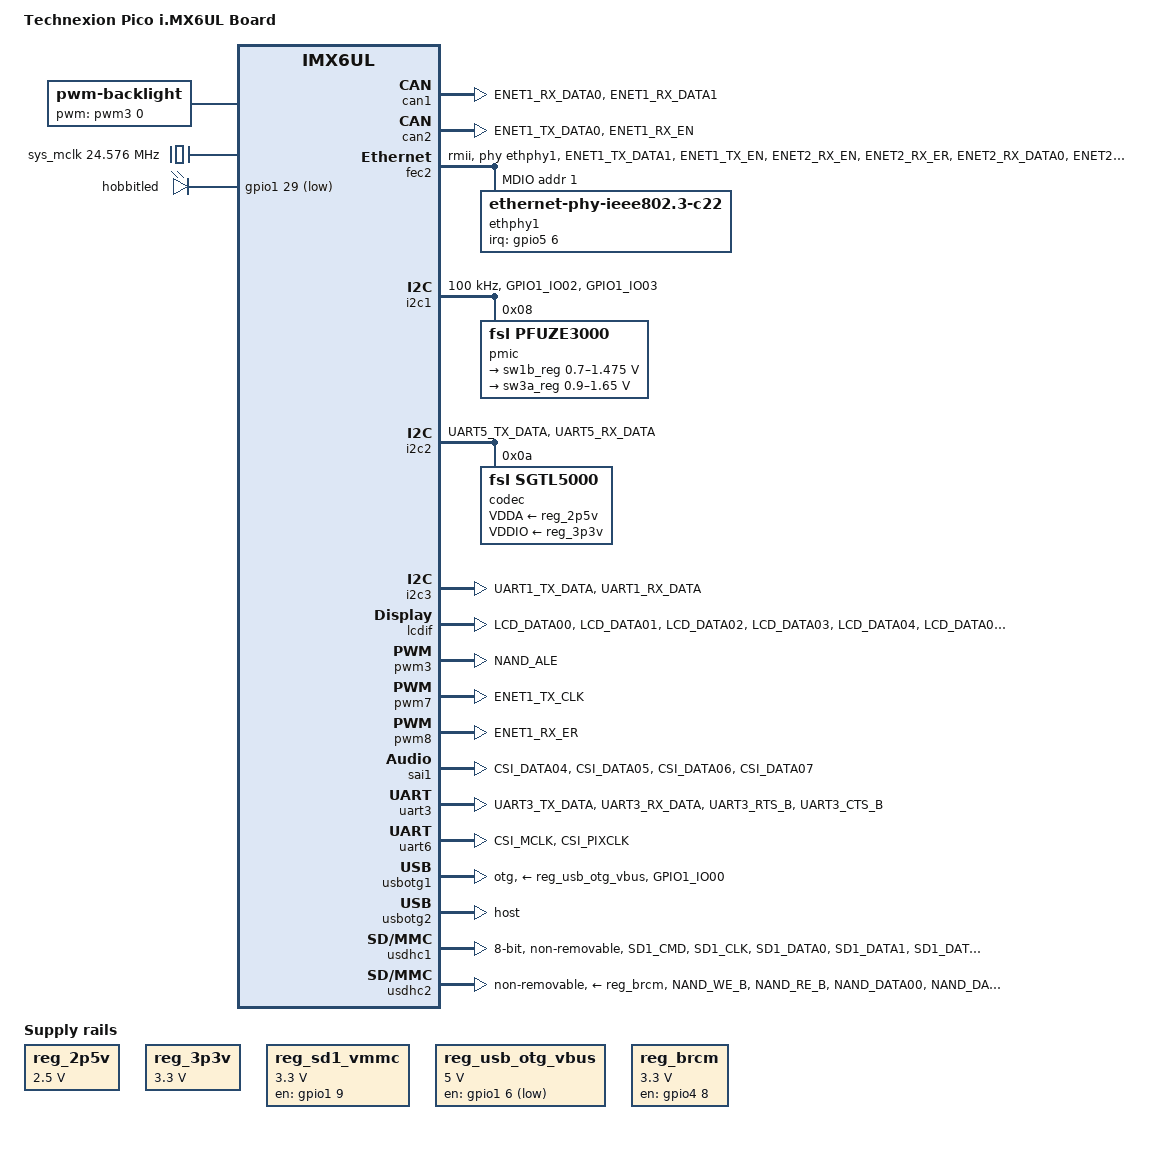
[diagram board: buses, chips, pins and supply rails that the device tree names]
/*
 * Copyright 2015 Technexion Ltd.
 *
 * Author: Wig Cheng  <wig.cheng@technexion.com>
 *	   Richard Hu <richard.hu@technexion.com>
 *	   Tapani Utriainen <tapani@technexion.com>
 *
 * This file is dual-licensed: you can use it either under the terms
 * of the GPL or the X11 license, at your option. Note that this dual
 * licensing only applies to this file, and not this project as a
 * whole.
 *
 *  a) This file is free software; you can redistribute it and/or
 *     modify it under the terms of the GNU General Public License
 *     version 2 as published by the Free Software Foundation.
 *
 *     This file is distributed in the hope that it will be useful,
 *     but WITHOUT ANY WARRANTY; without even the implied warranty of
 *     MERCHANTABILITY or FITNESS FOR A PARTICULAR PURPOSE.  See the
 *     GNU General Public License for more details.
 *
 * Or, alternatively,
 *
 *  b) Permission is hereby granted, free of charge, to any person
 *     obtaining a copy of this software and associated documentation
 *     files (the "Software"), to deal in the Software without
 *     restriction, including without limitation the rights to use,
 *     copy, modify, merge, publish, distribute, sublicense, and/or
 *     sell copies of the Software, and to permit persons to whom the
 *     Software is furnished to do so, subject to the following
 *     conditions:
 *
 *     The above copyright notice and this permission notice shall be
 *     included in all copies or substantial portions of the Software.
 *
 *     THE SOFTWARE IS PROVIDED "AS IS", WITHOUT WARRANTY OF ANY KIND,
 *     EXPRESS OR IMPLIED, INCLUDING BUT NOT LIMITED TO THE WARRANTIES
 *     OF MERCHANTABILITY, FITNESS FOR A PARTICULAR PURPOSE AND
 *     NONINFRINGEMENT. IN NO EVENT SHALL THE AUTHORS OR COPYRIGHT
 *     HOLDERS BE LIABLE FOR ANY CLAIM, DAMAGES OR OTHER LIABILITY,
 *     WHETHER IN AN ACTION OF CONTRACT, TORT OR OTHERWISE, ARISING
 *     FROM, OUT OF OR IN CONNECTION WITH THE SOFTWARE OR THE USE OR
 *     OTHER DEALINGS IN THE SOFTWARE.
 */

/dts-v1/;

#include "imx6ul.dtsi"

/ {
	model = "Technexion Pico i.MX6UL Board";
	compatible = "technexion,imx6ul-pico-hobbit", "fsl,imx6ul";

	/* Will be filled by the bootloader */
	memory@80000000 {
		reg = <0x80000000 0>;
	};

	chosen {
		stdout-path = &uart6;
	};

	backlight {
		compatible = "pwm-backlight";
		pwms = <&pwm3 0 5000000>;
		brightness-levels = <0 4 8 16 32 64 128 255>;
		default-brightness-level = <6>;
		status = "okay";
	};

	reg_2p5v: regulator-2p5v {
		compatible = "regulator-fixed";
		regulator-name = "2P5V";
		regulator-min-microvolt = <2500000>;
		regulator-max-microvolt = <2500000>;
	};

	reg_3p3v: regulator-3p3v {
		compatible = "regulator-fixed";
		regulator-name = "3P3V";
		regulator-min-microvolt = <3300000>;
		regulator-max-microvolt = <3300000>;
	};

	reg_sd1_vmmc: regulator-sd1-vmmc {
		compatible = "regulator-fixed";
		regulator-name = "VSD_3V3";
		regulator-min-microvolt = <3300000>;
		regulator-max-microvolt = <3300000>;
		gpio = <&gpio1 9 GPIO_ACTIVE_HIGH>;
		enable-active-high;
	};

	reg_usb_otg_vbus: regulator-usb-otg-vbus {
		compatible = "regulator-fixed";
		pinctrl-names = "default";
		pinctrl-0 = <&pinctrl_usb_otg1>;
		regulator-name = "usb_otg_vbus";
		regulator-min-microvolt = <5000000>;
		regulator-max-microvolt = <5000000>;
		gpio = <&gpio1 6 0>;
	};

	reg_brcm: regulator-brcm {
		compatible = "regulator-fixed";
		enable-active-high;
		gpio = <&gpio4 8 GPIO_ACTIVE_HIGH>;
		pinctrl-names = "default";
		pinctrl-0 = <&pinctrl_brcm_reg>;
		regulator-name = "brcm_reg";
		regulator-min-microvolt = <3300000>;
		regulator-max-microvolt = <3300000>;
		startup-delay-us = <200000>;
	};

	sound {
		compatible = "fsl,imx-audio-sgtl5000";
		model = "imx6ul-sgtl5000";
		audio-cpu = <&sai1>;
		audio-codec = <&codec>;
		audio-routing =
			"LINE_IN", "Line In Jack",
			"MIC_IN", "Mic Jack",
			"Mic Jack", "Mic Bias",
			"Headphone Jack", "HP_OUT";
	};

	sys_mclk: clock-sys-mclk {
		compatible = "fixed-clock";
		#clock-cells = <0>;
		clock-frequency = <24576000>;
	};

	leds {
		compatible = "gpio-leds";

		hobbitled {
			label = "hobbitled";
			gpios = <&gpio1 29 GPIO_ACTIVE_LOW>;
		};
	};
};

&can1 {
	pinctrl-names = "default";
	pinctrl-0 = <&pinctrl_flexcan1>;
	status = "okay";
};

&can2 {
	pinctrl-names = "default";
	pinctrl-0 = <&pinctrl_flexcan2>;
	status = "okay";
};

&clks {
	assigned-clocks = <&clks IMX6UL_CLK_PLL4_AUDIO_DIV>;
	assigned-clock-rates = <786432000>;
};

&fec2 {
	pinctrl-names = "default";
	pinctrl-0 = <&pinctrl_enet2>;
	phy-mode = "rmii";
	phy-handle = <&ethphy1>;
	status = "okay";
	phy-reset-gpios = <&gpio1 28 GPIO_ACTIVE_LOW>;
	phy-reset-duration = <1>;

	mdio {
		#address-cells = <1>;
		#size-cells = <0>;

		ethphy1: ethernet-phy@1 {
			compatible = "ethernet-phy-ieee802.3-c22";
			reg = <1>;
			max-speed = <100>;
			interrupt-parent = <&gpio5>;
			interrupts = <6 IRQ_TYPE_LEVEL_LOW>;
		};
	};
};

&i2c1 {
	clock-frequency = <100000>;
	pinctrl-names = "default";
	pinctrl-0 = <&pinctrl_i2c1>;
	status = "okay";

	pmic: pfuze3000@8 {
		compatible = "fsl,pfuze3000";
		reg = <0x08>;

		regulators {
			/* VDD_ARM_SOC_IN*/
			sw1b_reg: sw1b {
				regulator-min-microvolt = <700000>;
				regulator-max-microvolt = <1475000>;
				regulator-boot-on;
				regulator-always-on;
				regulator-ramp-delay = <6250>;
			};

			/* DRAM */
			sw3a_reg: sw3 {
				regulator-min-microvolt = <900000>;
				regulator-max-microvolt = <1650000>;
				regulator-boot-on;
				regulator-always-on;
			};

			/* DRAM */
			vref_reg: vrefddr {
				regulator-boot-on;
				regulator-always-on;
			};
		};
	};
};

&i2c2 {
	clock_frequency = <100000>;
	pinctrl-names = "default";
	pinctrl-0 = <&pinctrl_i2c2>;
	status = "okay";

	codec: sgtl5000@a {
		reg = <0x0a>;
		compatible = "fsl,sgtl5000";
		clocks = <&sys_mclk>;
		VDDA-supply = <&reg_2p5v>;
		VDDIO-supply = <&reg_3p3v>;
	};
};

&i2c3 {
	clock_frequency = <100000>;
	pinctrl-names = "default";
	pinctrl-0 = <&pinctrl_i2c3>;
	status = "okay";
};

&lcdif {
	pinctrl-names = "default";
	pinctrl-0 = <&pinctrl_lcdif_dat &pinctrl_lcdif_ctrl>;
	display = <&display0>;
	status = "okay";

	display0: display0 {
		bits-per-pixel = <32>;
		bus-width = <24>;

		display-timings {
			native-mode = <&timing0>;

			timing0: timing0 {
				clock-frequency = <33200000>;
				hactive = <800>;
				vactive = <480>;
				hfront-porch = <210>;
				hback-porch = <46>;
				hsync-len = <1>;
				vback-porch = <22>;
				vfront-porch = <23>;
				vsync-len = <1>;
				hsync-active = <0>;
				vsync-active = <0>;
				de-active = <1>;
				pixelclk-active = <0>;
			};
		};
	};
};

&pwm3 {
	pinctrl-names = "default";
	pinctrl-0 = <&pinctrl_pwm3>;
	status = "okay";
};

&pwm7 {
	pinctrl-names = "default";
	pinctrl-0 = <&pinctrl_pwm7>;
	status = "okay";
};

&pwm8 {
	pinctrl-names = "default";
	pinctrl-0 = <&pinctrl_pwm8>;
	status = "okay";
};

&sai1 {
	pinctrl-names = "default";
	pinctrl-0 = <&pinctrl_sai1>;
	status = "okay";
};

&uart3 {
	pinctrl-names = "default";
	pinctrl-0 = <&pinctrl_uart3>;
	uart-has-rtscts;
	status = "okay";
};

&uart6 {
	pinctrl-names = "default";
	pinctrl-0 = <&pinctrl_uart6>;
	status = "okay";
};

&usbotg1 {
	vbus-supply = <&reg_usb_otg_vbus>;
	pinctrl-names = "default";
	pinctrl-0 = <&pinctrl_usb_otg1_id>;
	dr_mode = "otg";
	disable-over-current;
	status = "okay";
};

&usbotg2 {
	dr_mode = "host";
	disable-over-current;
	status = "okay";
};

&usdhc1 {
	pinctrl-names = "default";
	pinctrl-0 = <&pinctrl_usdhc1>;
	bus-width = <8>;
	no-1-8-v;
	non-removable;
	keep-power-in-suspend;
	status = "okay";
};

&usdhc2 {  /* Wifi SDIO */
	pinctrl-names = "default";
	pinctrl-0 = <&pinctrl_usdhc2>;
	no-1-8-v;
	non-removable;
	keep-power-in-suspend;
	wakeup-source;
	vmmc-supply = <&reg_brcm>;
	status = "okay";
};

&wdog1 {
	pinctrl-names = "default";
	pinctrl-0 = <&pinctrl_wdog>;
	fsl,ext-reset-output;
};

&iomuxc {
	pinctrl_brcm_reg: brcmreggrp {
		fsl,pins = <
			MX6UL_PAD_NAND_DATA06__GPIO4_IO08	0x10b0	/* WL_REG_ON */
			MX6UL_PAD_NAND_DATA04__GPIO4_IO06	0x10b0	/* WL_HOST_WAKE */
		>;
	};

	pinctrl_enet2: enet2grp {
		fsl,pins = <
			MX6UL_PAD_ENET1_TX_DATA1__ENET2_MDIO	0x1b0b0
			MX6UL_PAD_ENET1_TX_EN__ENET2_MDC	0x1b0b0
			MX6UL_PAD_ENET2_RX_EN__ENET2_RX_EN	0x1b0b0
			MX6UL_PAD_ENET2_RX_ER__ENET2_RX_ER	0x1b0b0
			MX6UL_PAD_ENET2_RX_DATA0__ENET2_RDATA00	0x1b0b0
			MX6UL_PAD_ENET2_RX_DATA1__ENET2_RDATA01	0x1b0b0
			MX6UL_PAD_ENET2_TX_EN__ENET2_TX_EN	0x1b0b0
			MX6UL_PAD_ENET2_TX_DATA0__ENET2_TDATA00	0x1b0b0
			MX6UL_PAD_ENET2_TX_DATA1__ENET2_TDATA01	0x1b0b0
			MX6UL_PAD_ENET2_TX_CLK__ENET2_REF_CLK2	0x4001b031
			MX6UL_PAD_SNVS_TAMPER6__GPIO5_IO06	0x800
			MX6UL_PAD_UART4_TX_DATA__GPIO1_IO28	0x79
		>;
	};

	pinctrl_flexcan1: flexcan1grp {
		fsl,pins = <
			MX6UL_PAD_ENET1_RX_DATA0__FLEXCAN1_TX	0x1b020
			MX6UL_PAD_ENET1_RX_DATA1__FLEXCAN1_RX	0x1b020
		>;
	};

	pinctrl_flexcan2: flexcan2grp {
		fsl,pins = <
			MX6UL_PAD_ENET1_TX_DATA0__FLEXCAN2_RX	0x1b020
			MX6UL_PAD_ENET1_RX_EN__FLEXCAN2_TX	0x1b020
		>;
	};

	pinctrl_i2c1: i2c1grp {
		fsl,pins = <
			MX6UL_PAD_GPIO1_IO02__I2C1_SCL		0x4001b8b0
			MX6UL_PAD_GPIO1_IO03__I2C1_SDA		0x4001b8b0
		>;
	};

	pinctrl_i2c2: i2c2grp {
		fsl,pins = <
			MX6UL_PAD_UART5_TX_DATA__I2C2_SCL	0x4001b8b0
			MX6UL_PAD_UART5_RX_DATA__I2C2_SDA	0x4001b8b0
		>;
	};

	pinctrl_i2c3: i2c3grp {
		fsl,pins = <
			MX6UL_PAD_UART1_TX_DATA__I2C3_SCL	0x4001b8b0
			MX6UL_PAD_UART1_RX_DATA__I2C3_SDA	0x4001b8b0
			>;
	};

	pinctrl_lcdif_dat: lcdifdatgrp {
		fsl,pins = <
			MX6UL_PAD_LCD_DATA00__LCDIF_DATA00	0x79
			MX6UL_PAD_LCD_DATA01__LCDIF_DATA01	0x79
			MX6UL_PAD_LCD_DATA02__LCDIF_DATA02	0x79
			MX6UL_PAD_LCD_DATA03__LCDIF_DATA03	0x79
			MX6UL_PAD_LCD_DATA04__LCDIF_DATA04	0x79
			MX6UL_PAD_LCD_DATA05__LCDIF_DATA05	0x79
			MX6UL_PAD_LCD_DATA06__LCDIF_DATA06	0x79
			MX6UL_PAD_LCD_DATA07__LCDIF_DATA07	0x79
			MX6UL_PAD_LCD_DATA08__LCDIF_DATA08	0x79
			MX6UL_PAD_LCD_DATA09__LCDIF_DATA09	0x79
			MX6UL_PAD_LCD_DATA10__LCDIF_DATA10	0x79
			MX6UL_PAD_LCD_DATA11__LCDIF_DATA11	0x79
			MX6UL_PAD_LCD_DATA12__LCDIF_DATA12	0x79
			MX6UL_PAD_LCD_DATA13__LCDIF_DATA13	0x79
			MX6UL_PAD_LCD_DATA14__LCDIF_DATA14	0x79
			MX6UL_PAD_LCD_DATA15__LCDIF_DATA15	0x79
			MX6UL_PAD_LCD_DATA16__LCDIF_DATA16	0x79
			MX6UL_PAD_LCD_DATA17__LCDIF_DATA17	0x79
			MX6UL_PAD_LCD_DATA18__LCDIF_DATA18	0x79
			MX6UL_PAD_LCD_DATA19__LCDIF_DATA19	0x79
			MX6UL_PAD_LCD_DATA20__LCDIF_DATA20	0x79
			MX6UL_PAD_LCD_DATA21__LCDIF_DATA21	0x79
			MX6UL_PAD_LCD_DATA22__LCDIF_DATA22	0x79
			MX6UL_PAD_LCD_DATA23__LCDIF_DATA23	0x79
		>;
	};

	pinctrl_lcdif_ctrl: lcdifctrlgrp {
		fsl,pins = <
			MX6UL_PAD_LCD_CLK__LCDIF_CLK		0x79
			MX6UL_PAD_LCD_ENABLE__LCDIF_ENABLE	0x79
			MX6UL_PAD_LCD_HSYNC__LCDIF_HSYNC	0x79
			MX6UL_PAD_LCD_VSYNC__LCDIF_VSYNC	0x79
			/* LCD reset */
			MX6UL_PAD_SNVS_TAMPER9__GPIO5_IO09	0x79
		>;
	};

	pinctrl_pwm3: pwm3grp {
		fsl,pins = <
			MX6UL_PAD_NAND_ALE__PWM3_OUT		0x110b0
		>;
	};

	pinctrl_pwm7: pwm7grp {
		fsl,pins = <
			MX6UL_PAD_ENET1_TX_CLK__PWM7_OUT	0x110b0
		>;
	};

	pinctrl_pwm8: pwm8grp {
		fsl,pins = <
			MX6UL_PAD_ENET1_RX_ER__PWM8_OUT		0x110b0
		>;
	};

	pinctrl_sai1: sai1grp {
		fsl,pins = <
			MX6UL_PAD_CSI_DATA04__SAI1_TX_SYNC	0x1b0b0
			MX6UL_PAD_CSI_DATA05__SAI1_TX_BCLK	0x1b0b0
			MX6UL_PAD_CSI_DATA06__SAI1_RX_DATA	0x110b0
			MX6UL_PAD_CSI_DATA07__SAI1_TX_DATA	0x1f0b8
		>;
	};

	pinctrl_uart3: uart3grp {
		fsl,pins = <
			MX6UL_PAD_UART3_TX_DATA__UART3_DCE_TX	0x1b0b0
			MX6UL_PAD_UART3_RX_DATA__UART3_DCE_RX	0x1b0b0
			MX6UL_PAD_UART3_RTS_B__UART3_DCE_RTS	0x1b0b0
			MX6UL_PAD_UART3_CTS_B__UART3_DCE_CTS	0x1b0b0
		>;
	};

	pinctrl_uart5: uart5grp {
		fsl,pins = <
			MX6UL_PAD_GPIO1_IO04__UART5_DCE_TX	0x1b0b1
			MX6UL_PAD_GPIO1_IO05__UART5_DCE_RX	0x1b0b1
			MX6UL_PAD_GPIO1_IO08__UART5_DCE_RTS	0x1b0b1
			MX6UL_PAD_GPIO1_IO09__UART5_DCE_CTS	0x1b0b1
		>;
	};

	pinctrl_uart6: uart6grp {
		fsl,pins = <
			MX6UL_PAD_CSI_MCLK__UART6_DCE_TX	0x1b0b1
			MX6UL_PAD_CSI_PIXCLK__UART6_DCE_RX	0x1b0b1
		>;
	};

	pinctrl_usb_otg1: usbotg1grp {
		fsl,pins = <
			MX6UL_PAD_GPIO1_IO06__GPIO1_IO06	0x10b0
			>;
	};

	pinctrl_usb_otg1_id: usbotg1idgrp {
		fsl,pins = <
			MX6UL_PAD_GPIO1_IO00__ANATOP_OTG1_ID	0x17059
		>;
	};

	pinctrl_usdhc1: usdhc1grp {
		fsl,pins = <
			MX6UL_PAD_SD1_CMD__USDHC1_CMD		0x17059
			MX6UL_PAD_SD1_CLK__USDHC1_CLK		0x10071
			MX6UL_PAD_SD1_DATA0__USDHC1_DATA0	0x17059
			MX6UL_PAD_SD1_DATA1__USDHC1_DATA1	0x17059
			MX6UL_PAD_SD1_DATA2__USDHC1_DATA2	0x17059
			MX6UL_PAD_SD1_DATA3__USDHC1_DATA3	0x17059
			MX6UL_PAD_UART1_RTS_B__USDHC1_CD_B	0x03029
			MX6UL_PAD_NAND_READY_B__USDHC1_DATA4	0x17059
			MX6UL_PAD_NAND_CE0_B__USDHC1_DATA5	0x17059
			MX6UL_PAD_NAND_CE1_B__USDHC1_DATA6	0x17059
			MX6UL_PAD_NAND_CLE__USDHC1_DATA7	0x17059
		>;
	};

	pinctrl_usdhc2: usdhc2grp {
		fsl,pins = <
			MX6UL_PAD_NAND_WE_B__USDHC2_CMD		0x17059
			MX6UL_PAD_NAND_RE_B__USDHC2_CLK		0x10059
			MX6UL_PAD_NAND_DATA00__USDHC2_DATA0	0x17059
			MX6UL_PAD_NAND_DATA01__USDHC2_DATA1	0x17059
			MX6UL_PAD_NAND_DATA02__USDHC2_DATA2	0x17059
			MX6UL_PAD_NAND_DATA03__USDHC2_DATA3	0x17059
		>;
	};

	pinctrl_wdog: wdoggrp {
		fsl,pins = <
			MX6UL_PAD_LCD_RESET__WDOG1_WDOG_ANY    0x30b0
		>;
	};
};
